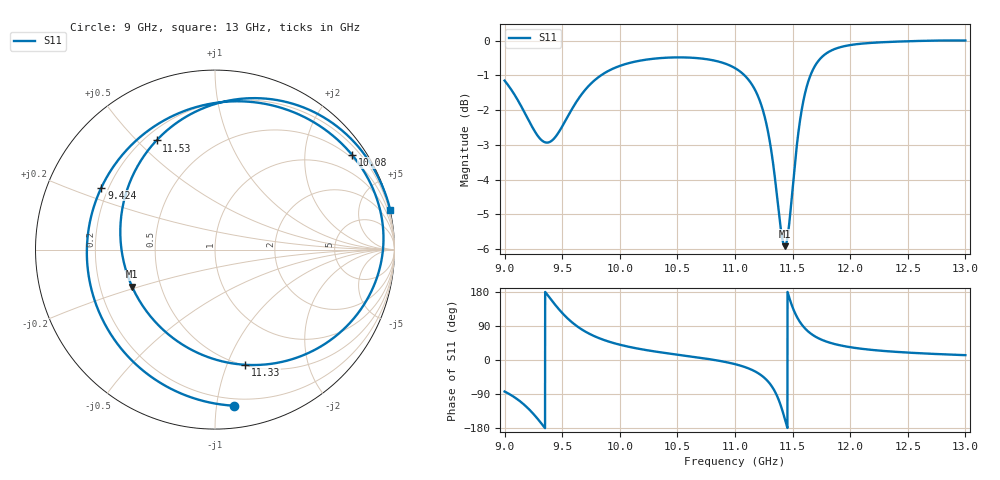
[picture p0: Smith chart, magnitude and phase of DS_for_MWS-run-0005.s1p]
! TOUCHSTONE file generated by CST DESIGN STUDIO
! Date and time: Tue Jan 28 13:43:15 2025
! Project name: C:\Work\MatlabApps\UnitCellOptimizationMatlab\CST\unitcell.cst
! Tree item: Tasks\Sweep1\SPara1\S-Parameters
! Header version: 2024
! Port assignment regex: !\s*Touchstone port\s*([0-9]+)\s*=\s*(CST MWS port|CST DES external port|CST DES block port)\s*(.+)\s* \(\"(.*)\"\)(\s*mode\s*([0-9]+))?.*
! Touchstone port assignment:
! Touchstone port 1 = CST DES external port 1 ("")
# GHz S MA R 50
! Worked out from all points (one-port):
!   4001 points, 9 GHz to 13 GHz, reference 50 ohm
!   lowest |S11| = -5.9 dB at 11.43 GHz (marker M1), VSWR 3.05, Z = 17.1 - j9.5 ohm
!   |S11| at or under -10 dB: nowhere
!   S11 on the Smith chart (normalised r, x): 9 GHz: 0.15, -1.12; 9.424 GHz: 0.17, +0.25; 10.08 GHz: 0.41, +3.15; 11.33 GHz: 0.51, -1.16; 11.53 GHz: 0.25, +0.57; 13 GHz: -0.01, +8.92
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9  0.8759 -83.2
9.11  0.8233 -103.5
9.203  0.7711 -127.4
9.321  0.7189 -168.2
9.424  0.7213 151.4
9.5  0.7525 124.2
9.58  0.7946 100.7
9.672  0.8384 80.2
9.822  0.8877 57.4
10  0.9196 40.4
10.08  0.9283 34.7
10.5  0.9459 14.0
11  0.9129 -10.9
11.201  0.8307 -34.8
11.27  0.762 -51.3
11.332  0.6631 -75.4
11.384  0.5596 -108.9
11.433  0.5061 -155.9
11.466  0.5367 169.4
11.5  0.6133 139.0
11.53  0.6901 118.2
11.564  0.7666 100.2
11.603  0.833 84.9
11.718  0.9323 58.4
11.836  0.9677 44.5
12  0.9853 33.8
12.5  0.9978 19.6
13  1 12.8
